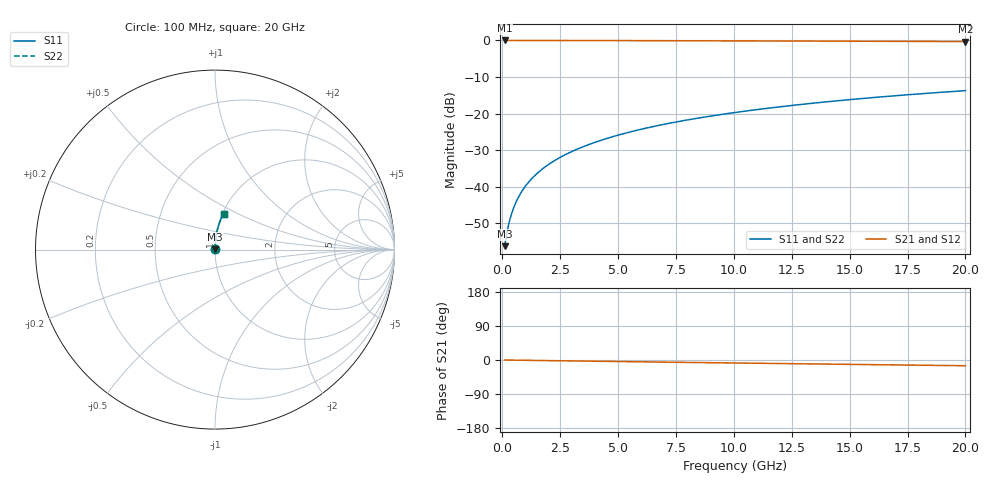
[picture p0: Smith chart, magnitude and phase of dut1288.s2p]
! Touchstone file exported from HFSS 2024.1.0
!  File:  C:/UserFiles/LocalFiles/RDL_TSV_Batchsim/temp_RDL_top_1288_1780242799.aedt
!  Generated:  11:55:54 PM May 31, 2026
!  Design:  RDL_top
!  Project:  temp_RDL_top_1288_1780242799
!  Setup:  Setup1
!  Solution:  Sweep
! Variables:
!  dtsv = 10.80580581um
!  hbump = 3um
!  htsv = 87.44um
!  ldown = 100um
!  lrdl = 135.98um
!  p = 40
!  p1 = 59.3um
!  rhole = 1um
!  t = 450um
!  tdown = 3.915915916um
!  trdl = 3.4um
!  wdown = 15.38538539um
!  wrdl = 14.83um
# GHz S MA R 50.000000
! Terminal data exported
! Port[1] = Box2_T1
! Port[2] = Box2_T2
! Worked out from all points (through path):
!   200 points, 100 MHz to 20 GHz, reference 50 ohm
!   highest |S21| = -0.01 dB at 100 MHz (marker M1); lowest = -0.3 dB at 20 GHz (marker M2)
!   group delay of S21, straight-line fit = 2.09 ps
!   lowest |S11| = -56.2 dB at 100 MHz (marker M3), VSWR 1.00, Z = 50.1 + j0.104 ohm
!   |S11| at or under -10 dB: start of sweep to end of sweep
!   |S22| runs from -56.2 to -13.7 dB; largest |S21 - S12| = 3.1e-15
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0.1  0.001549 42.3  0.9989 -0.1  0.9989 -0.1  0.001549 42.3
! Gamma 0 0 0 0
! Port Impedance 50 0 50 0
0.2  0.002383 60.7  0.9988 -0.2  0.9988 -0.2  0.002383 60.7
0.3  0.003325 68.9  0.9988 -0.3  0.9988 -0.3  0.003325 68.9
0.4  0.004296 73.4  0.9988 -0.3  0.9988 -0.3  0.004296 73.4
0.5  0.005277 76.3  0.9987 -0.4  0.9987 -0.4  0.005277 76.3
0.6  0.006262 78.2  0.9987 -0.5  0.9987 -0.5  0.006262 78.2
0.8  0.00824 80.7  0.9986 -0.7  0.9986 -0.7  0.00824 80.7
1.1  0.01122 82.9  0.9985 -0.9  0.9985 -0.9  0.01122 82.9
1.5  0.01522 84.4  0.9983 -1.2  0.9983 -1.2  0.01522 84.4
1.8  0.01823 85.1  0.9981 -1.5  0.9981 -1.5  0.01823 85.1
2.1  0.02125 85.6  0.9979 -1.7  0.9979 -1.7  0.02125 85.6
2.7  0.02732 86.1  0.9974 -2.2  0.9974 -2.2  0.02732 86.1
3.5  0.03545 86.4  0.9966 -2.9  0.9966 -2.9  0.03545 86.4
4.2  0.04262 86.4  0.9958 -3.4  0.9958 -3.4  0.04262 86.4
5  0.05085 86.3  0.9948 -4.1  0.9948 -4.1  0.05086 86.3
5.9  0.06018 86.0  0.9934 -4.8  0.9934 -4.8  0.06018 86.0
6.8  0.06956 85.6  0.992 -5.5  0.992 -5.5  0.06956 85.6
8.3  0.08527 84.8  0.9894 -6.6  0.9894 -6.6  0.08527 84.8
10.1  0.1042 83.7  0.9861 -8.0  0.9861 -8.0  0.1042 83.7
13.4  0.1388 81.4  0.9794 -10.4  0.9794 -10.4  0.1388 81.4
16.7  0.1729 79.0  0.9721 -12.8  0.9721 -12.8  0.1729 79.0
20  0.2063 76.5  0.9642 -15.1  0.9642 -15.1  0.2063 76.5
